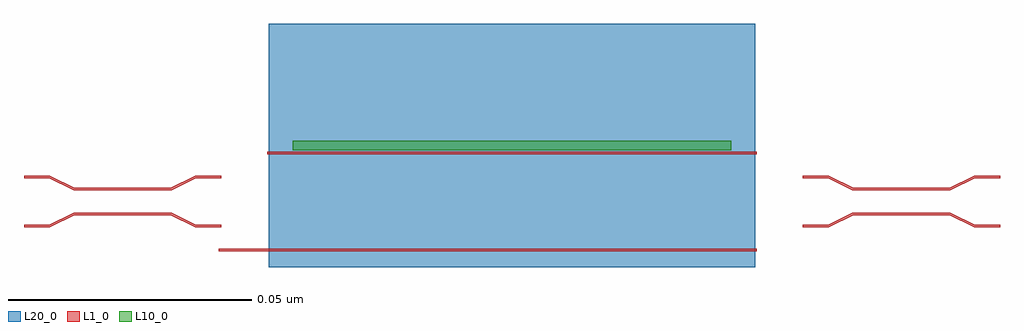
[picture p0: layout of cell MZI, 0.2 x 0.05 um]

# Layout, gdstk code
import gdstk
lib = gdstk.Library(unit=1e-6, precision=1e-12)
def R(c, l, rs):  # rectangles x0, y0, x1, y1
    for r in rs: c.add(gdstk.rectangle(r[:2], r[2:], *l))
L1_0 = (1, 0)
L10_0 = (10, 0)
L20_0 = (20, 0)

coupler = lib.new_cell('COUPLER')
coupler.add(gdstk.FlexPath([(0,0.005),(0.005,0.005),(0.01,0.0026),(0.03,0.0026),(0.035,0.005),(0.04,0.005)], 0.0005, ends="round", simple_path=True, layer=1, datatype=0))  # L1_0
coupler.add(gdstk.FlexPath([(0,-0.005),(0.005,-0.005),(0.01,-0.0026),(0.03,-0.0026),(0.035,-0.005),(0.04,-0.005)], 0.0005, ends="round", simple_path=True, layer=1, datatype=0))  # L1_0

phase_shifter = lib.new_cell('PHASE_SHIFTER')
R(phase_shifter, L10_0, [(0.005,0.0005,0.095,0.0025)])
R(phase_shifter, L20_0, [(0,-0.0235,0.05,0.0265), (0.05,-0.0235,0.1,0.0265)])
phase_shifter.add(gdstk.FlexPath([(0,0),(0.1,0)], 0.0005, ends="round", simple_path=True, layer=1, datatype=0))  # L1_0

mzi = lib.new_cell('MZI')
mzi.add(gdstk.FlexPath([(0.04,-0.01),(0.15,-0.01)], 0.0005, ends="round", simple_path=True, layer=1, datatype=0))  # L1_0
mzi.add(gdstk.Reference(coupler, (0,0)))
mzi.add(gdstk.Reference(phase_shifter, (0.05,0.01)))
mzi.add(gdstk.Reference(coupler, (0.16,0)))

lib.write_gds('MZI.gds')
